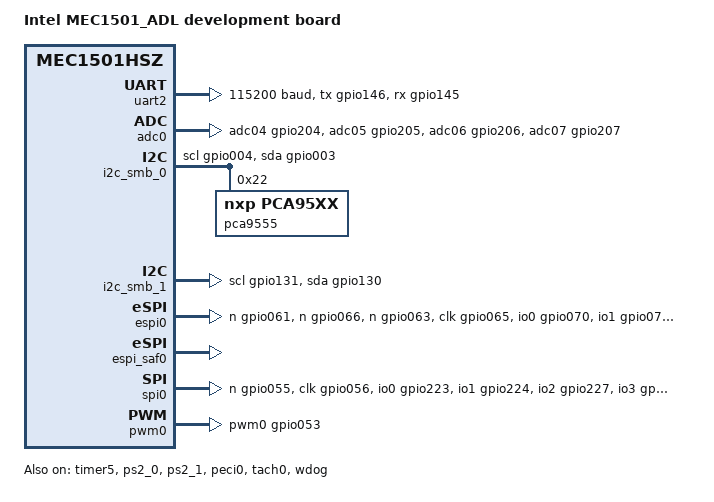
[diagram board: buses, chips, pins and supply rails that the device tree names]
/*
 * Copyright (c) 2020, Intel Corporation
 *
 * SPDX-License-Identifier: Apache-2.0
 */

/dts-v1/;

#include "mec1501_adl-pinctrl.dtsi"

/ {
	model = "Intel MEC1501_ADL development board";
	compatible = "microchip,mec1501_adl",
		     "microchip,mec1501hsz";

	chosen {
		zephyr,sram = &sram0;
		zephyr,console = &uart2;
		zephyr,flash = &flash0;
	};

	aliases {
		pwm-0 = &pwm0;
		peci-0 = &peci0;

		i2c0 = &i2c_smb_0;
	};

	power-states {
		idle: idle {
			compatible = "zephyr,power-state";
			power-state-name = "suspend-to-idle";
			min-residency-us = <1000000>;
		};

		suspend_to_ram: suspend_to_ram {
			compatible = "zephyr,power-state";
			power-state-name = "suspend-to-ram";
			min-residency-us = <2000000>;
		};
	};
};

&cpu0 {
	cpu-power-states = <&idle &suspend_to_ram>;
};

&uart2 {
	status = "okay";
	current-speed = <115200>;

	pinctrl-0 = <&uart2_tx_gpio146 &uart2_rx_gpio145>;
	pinctrl-names = "default";
};

&adc0 {
	status = "okay";
	pinctrl-0 = <&adc04_gpio204 &adc05_gpio205
		     &adc06_gpio206 &adc07_gpio207 >;
	pinctrl-names = "default";
};

&i2c_smb_0 {
	status = "okay";
	port_sel = <0>;
	sda-gpios = <&gpio_000_036 3 0>;
	scl-gpios = <&gpio_000_036 4 0>;
	pinctrl-0 = < &i2c00_scl_gpio004 &i2c00_sda_gpio003 >;
	pinctrl-names = "default";

	pca9555@22 {
		compatible = "nxp,pca95xx";

		/* I2C address depends on PCA9555 HW straps.
		 * Address is: 0100<A2><A1><A0>b.
		 */
		reg = <0x22>;

		gpio-controller;
		#gpio-cells = <2>;
	};
};

&i2c_smb_1 {
	status = "okay";
	port_sel = <1>;
	sda-gpios = <&gpio_100_136 24 0>;
	scl-gpios = <&gpio_100_136 25 0>;

	pinctrl-0 = < &i2c01_scl_gpio131 &i2c01_sda_gpio130 >;
	pinctrl-names = "default";
};

&espi0 {
	status = "okay";
	io_girq = <19>;
	vw_girqs = <24 25>;
	pc_girq = <15>;
	pinctrl-0 = < &espi_reset_n_gpio061 &espi_cs_n_gpio066
			&espi_alert_n_gpio063 &espi_clk_gpio065
			&espi_io0_gpio070 &espi_io1_gpio071
			&espi_io2_gpio072 &espi_io3_gpio073 >;
	pinctrl-names = "default";
};

&espi_saf0 {
	status = "okay";
};

&spi0 {
	pinctrl-0 = < &shd_cs0_n_gpio055 &shd_clk_gpio056
			&shd_io0_gpio223 &shd_io1_gpio224
			&shd_io2_gpio227 &shd_io3_gpio016 >;
	pinctrl-names = "default";
};

&timer5 {
	status = "okay";
};

&ps2_0 {
	status = "okay";
	pinctrl-0 = < &ps2_clk0b_gpio007 &ps2_dat0b_gpio010 >;
	pinctrl-names = "default";
};

&ps2_1 {
	status = "okay";
	pinctrl-0 = < &ps2_clk1b_gpio154 &ps2_dat1b_gpio155 >;
	pinctrl-names = "default";
};

&pwm0 {
	status = "okay";
	pinctrl-0 = < &pwm0_gpio053 >;
	pinctrl-names = "default";
};

&peci0 {
	status = "okay";
	pinctrl-0 = < &peci_dat_gpio042 &vref_vtt_gpio044 >;
	pinctrl-names = "default";
};

&tach0 {
	status = "okay";
	pinctrl-0 = < &tach0_gpio050 >;
	pinctrl-names = "default";
};

&wdog {
	status = "okay";
};
